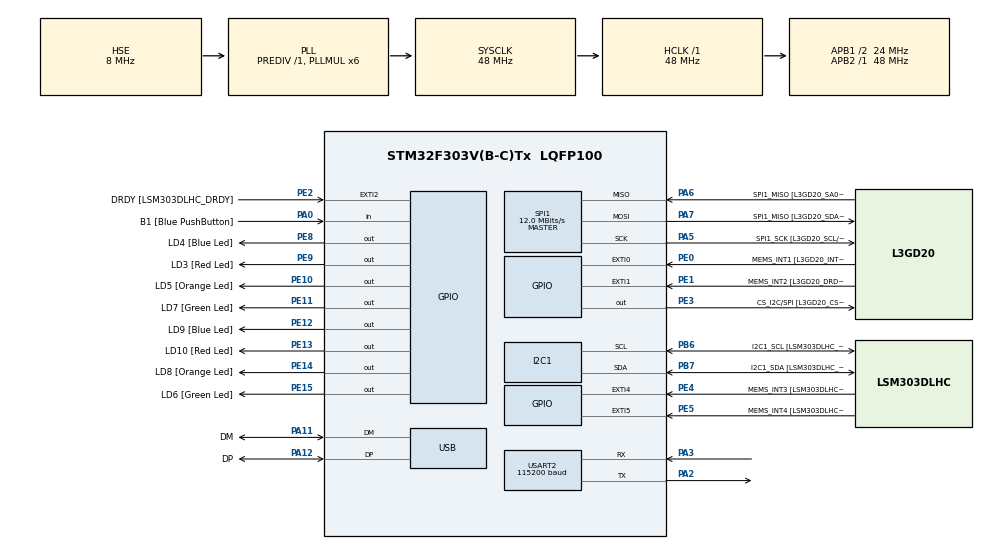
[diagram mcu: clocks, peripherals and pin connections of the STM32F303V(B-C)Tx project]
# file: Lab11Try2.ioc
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I2C1.Timing=0x00201D2B
I2C1.Timing-I2C=0x2000090E
Mcu.Family=STM32F3
Mcu.Name=STM32F303V(B-C)Tx
Mcu.Package=LQFP100
NVIC.PriorityGroup=NVIC_PRIORITYGROUP_0
NVIC.SPI1_IRQn=true\:0\:0\:false\:false\:true\:true\:true\:true
PA0.GPIO_Label=B1 [Blue PushButton]
PA0.Signal=GPIO_Input
PA11.GPIO_Label=DM
PA11.Mode=Device
PA11.Signal=USB_DM
PA12.GPIO_Label=DP
PA12.Mode=Device
PA12.Signal=USB_DP
PA13.GPIO_Label=SWDIO
PA13.Mode=Serial_Wire
PA13.Signal=SYS_JTMS-SWDIO
PA14.GPIO_Label=SWCLK
PA14.Mode=Serial_Wire
PA14.Signal=SYS_JTCK-SWCLK
PA2.Mode=Asynchronous
PA2.Signal=USART2_TX
PA3.Mode=Asynchronous
PA3.Signal=USART2_RX
PA5.GPIO_Label=SPI1_SCK [L3GD20_SCL/SPC]
PA5.Mode=Full_Duplex_Master
PA5.Signal=SPI1_SCK
PA6.GPIO_Label=SPI1_MISO [L3GD20_SA0/SDO]
PA6.Mode=Full_Duplex_Master
PA6.Signal=SPI1_MISO
PA7.GPIO_Label=SPI1_MISO [L3GD20_SDA/SDI/SDO]
PA7.Mode=Full_Duplex_Master
PA7.Signal=SPI1_MOSI
PB3.GPIO_Label=SWO
PB3.Signal=SYS_JTDO-TRACESWO
PB6.GPIO_Label=I2C1_SCL [LSM303DLHC_SCL]
PB6.GPIO_Pu=GPIO_PULLUP
PB6.Mode=I2C
PB6.Signal=I2C1_SCL
PB7.GPIO_Label=I2C1_SDA [LSM303DLHC_SDA]
PB7.GPIO_Pu=GPIO_PULLUP
PB7.Mode=I2C
PB7.Signal=I2C1_SDA
PC14-OSC32_IN.GPIO_Label=OSC32_IN
PC14-OSC32_IN.Signal=RCC_OSC32_IN
PC15-OSC32_OUT.GPIO_Label=OSC32_OUT
PC15-OSC32_OUT.Signal=RCC_OSC32_OUT
PE0.GPIO_Label=MEMS_INT1 [L3GD20_INT1]
PE0.GPIO_ModeDefaultEXTI=GPIO_MODE_EVT_RISING
PE0.Signal=GPXTI0
PE1.GPIO_Label=MEMS_INT2 [L3GD20_DRDY/INT2]
PE1.GPIO_ModeDefaultEXTI=GPIO_MODE_EVT_RISING
PE1.Signal=GPXTI1
PE10.GPIO_Label=LD5 [Orange Led]
PE10.Signal=GPIO_Output
PE11.GPIO_Label=LD7 [Green Led]
PE11.Signal=GPIO_Output
PE12.GPIO_Label=LD9 [Blue Led]
PE12.Signal=GPIO_Output
PE13.GPIO_Label=LD10 [Red Led]
PE13.Signal=GPIO_Output
PE14.GPIO_Label=LD8 [Orange Led]
PE14.Signal=GPIO_Output
PE15.GPIO_Label=LD6 [Green Led]
PE15.Signal=GPIO_Output
PE2.GPIO_Label=DRDY [LSM303DLHC_DRDY]
PE2.GPIO_ModeDefaultEXTI=GPIO_MODE_EVT_RISING
PE2.Signal=GPXTI2
PE3.GPIO_Label=CS_I2C/SPI [L3GD20_CS_I2C/SPI]
PE3.Signal=GPIO_Output
PE4.GPIO_Label=MEMS_INT3 [LSM303DLHC_INT1]
PE4.GPIO_ModeDefaultEXTI=GPIO_MODE_EVT_RISING
PE4.Signal=GPXTI4
PE5.GPIO_Label=MEMS_INT4 [LSM303DLHC_INT2]
PE5.GPIO_ModeDefaultEXTI=GPIO_MODE_EVT_RISING
PE5.Signal=GPXTI5
PE8.GPIO_Label=LD4 [Blue Led]
PE8.Signal=GPIO_Output
PE9.GPIO_Label=LD3 [Red Led]
PE9.Signal=GPIO_Output
PF0-OSC_IN.GPIO_Label=OSC_IN
PF0-OSC_IN.Mode=HSE-External-Clock-Source
PF0-OSC_IN.Signal=RCC_OSC_IN
PF1-OSC_OUT.GPIO_Label=OSC_OUT
PF1-OSC_OUT.Signal=RCC_OSC_OUT
ProjectManager.HeapSize=0x200
ProjectManager.StackSize=0x400
ProjectManager.TargetToolchain=CMake
RCC.AHBFreq_Value=48000000
RCC.APB1CLKDivider=RCC_HCLK_DIV2
RCC.APB1Freq_Value=24000000
RCC.APB1TimFreq_Value=48000000
RCC.APB2Freq_Value=48000000
RCC.APB2TimFreq_Value=48000000
RCC.CortexFreq_Value=48000000
RCC.HCLKFreq_Value=48000000
RCC.HSE_VALUE=8000000
RCC.HSI_VALUE=8000000
RCC.LSE_VALUE=32768
RCC.PLLMUL=RCC_PLL_MUL6
RCC.SYSCLKFreq_VALUE=48000000
RCC.SYSCLKSourceVirtual=RCC_SYSCLKSOURCE_PLLCLK
RCC.USBFreq_Value=48000000
SPI1.BaudRatePrescaler=SPI_BAUDRATEPRESCALER_4
SPI1.BaudRatePrescaler-Full_Duplex_Master=SPI_BAUDRATEPRESCALER_2
SPI1.CLKPhase=SPI_PHASE_2EDGE
SPI1.CLKPolarity=SPI_POLARITY_HIGH
SPI1.CalculateBaudRate=12.0 MBits/s
SPI1.CalculateBaudRate-Full_Duplex_Master=24.0 MBits/s
SPI1.DataSize=SPI_DATASIZE_8BIT
SPI1.Direction=SPI_DIRECTION_2LINES
SPI1.Mode=SPI_MODE_MASTER
SPI1.Mode-Full_Duplex_Master=SPI_MODE_MASTER
SPI1.VirtualType=VM_MASTER
USART2.BaudRate=115200
USART2.VirtualMode-Asynchronous=VM_ASYNC
board=STM32F3DISCOVERY

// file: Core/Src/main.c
/* USER CODE BEGIN Header */
/**
  ******************************************************************************
  * @file           : main.c
  * @brief          : Main program body
  ******************************************************************************
  * @attention
  *
  * Copyright (c) 2026 STMicroelectronics.
  * All rights reserved.
  *
  * This software is licensed under terms that can be found in the LICENSE file
  * in the root directory of this software component.
  * If no LICENSE file comes with this software, it is provided AS-IS.
  *
  ******************************************************************************
  */
/* USER CODE END Header */
#include "main.h"

/* USER CODE BEGIN Includes */
#include "stdarg.h"
#include "stdio.h"
#include "stm32f3xx_hal.h"
#include "stm32f3xx_hal_spi.h"
#include <stdint.h>
#include <strings.h>
#include <string.h>
#include <math.h>
/* USER CODE END Includes */

/* USER CODE BEGIN PD */

// --- Definitions ---
#define RAD_TO_DEG          57.29577951f

// I3G4250D Gyroscope (SPI)
#define GYRO_WHO_AM_I       0x0F
#define GYRO_WHO_AM_I_VAL   0xD3
#define GYRO_CTRL_REG1      0x20
#define GYRO_CTRL_REG1_VAL  0x8F  // Power on, Enable X, Y, Z, 100Hz ODR
#define GYRO_OUT_X_L        0x28

// LSM303AGR Accelerometer (I2C)
// The 7-bit I2C address is 0x19 (0011001b). HAL requires it left-shifted by 1 -> 0x32
#define ACCEL_I2C_ADDR      (0x19 << 1)
#define ACCEL_WHO_AM_I      0x0F
#define ACCEL_WHO_AM_I_VAL  0x33
#define ACCEL_CTRL_REG1     0x20
#define ACCEL_CTRL_REG1_VAL 0x67  // 100Hz, Normal mode, X/Y/Z enabled
#define ACCEL_CTRL_REG4     0x23
#define ACCEL_CTRL_REG4_VAL 0x00  // Continuous update, +/- 2g, Normal mode
#define ACCEL_OUT_X_L       0x28

/* USER CODE END PD */

I2C_HandleTypeDef hi2c1;

SPI_HandleTypeDef hspi1;

UART_HandleTypeDef huart2;

PCD_HandleTypeDef hpcd_USB_FS;

void SystemClock_Config(void);
static void MX_GPIO_Init(void);
static void MX_I2C1_Init(void);
static void MX_SPI1_Init(void);
static void MX_USART2_UART_Init(void);
static void MX_USB_PCD_Init(void);

/* USER CODE BEGIN 0 */
// --- Data Structures ---
typedef struct {
    int16_t raw_acc_x, raw_acc_y, raw_acc_z;
    float acc_x, acc_y, acc_z;
    float acc_offset_x, acc_offset_y, acc_offset_z;

    int16_t raw_gyro_x, raw_gyro_y, raw_gyro_z;
    float gyro_x, gyro_y, gyro_z;
    float gyro_offset_x, gyro_offset_y, gyro_offset_z;

    float angle_x;
    float angle_y;
    float angle_z;

} SensorData_t;

SensorData_t sensor = {0};

// --- SPI Interrupt Variables ---
volatile uint8_t spi_tx_buf[7];
volatile uint8_t spi_rx_buf[7];
volatile uint8_t spi_ready = 1;

// --- Functions ---

void myPrintf(const char* fmt, ...) {
    char buffer[512];
    va_list args;
    va_start(args, fmt);
    int length = vsnprintf(buffer, sizeof(buffer), fmt, args);
    va_end(args);

    if (length > 0) {
        HAL_UART_Transmit(&huart2, (uint8_t*)buffer, (uint16_t)length, HAL_MAX_DELAY);
    }
}

// SPI Tx/Rx Complete Callback for Gyroscope
void HAL_SPI_TxRxCpltCallback(SPI_HandleTypeDef *hspi) {
    if (hspi->Instance == SPI1) {
        // Pull CS High to end communication
        HAL_GPIO_WritePin(GPIOE, GPIO_PIN_3, GPIO_PIN_SET);
        spi_ready = 1;
    }
}

void gyro_init(void)
{
    // 0x80 = Read operation bit
    // 0x0F = WHO_AM_I register address
    uint8_t operation = 0x80 | 0x0F;
    uint8_t dataRecieved = 0;

    // 1. Pull CS Low to start communication
    HAL_GPIO_WritePin(GPIOE, GPIO_PIN_3, GPIO_PIN_RESET);

    // 2. Transmit the register address (with the Read bit set)
    // We use a small timeout (10ms) as requested
    HAL_SPI_Transmit(&hspi1, &operation, 1, 10);

    // 3. Receive the data from the sensor
    // The SPI clock continues to run, allowing the sensor to push its ID onto MISO
    HAL_SPI_Receive(&hspi1, &dataRecieved, 1, 10);

    // 4. Pull CS High to end communication
    HAL_GPIO_WritePin(GPIOE, GPIO_PIN_3, GPIO_PIN_SET);

    // Print the result. Expected value for i3g4250d is 0xD3 (211 decimal)
    myPrintf("Sensor Data (i3g4250d) WHO_AM_I: 0x%02X \r\n", dataRecieved);

    // Proceed with actual configuration if the sensor is correct
    if (dataRecieved == 0xD3) {
        uint8_t config[2] = { GYRO_CTRL_REG1, GYRO_CTRL_REG1_VAL };

        HAL_GPIO_WritePin(GPIOE, GPIO_PIN_3, GPIO_PIN_RESET);
        HAL_SPI_Transmit(&hspi1, config, 2, 10);
        HAL_GPIO_WritePin(GPIOE, GPIO_PIN_3, GPIO_PIN_SET);

        myPrintf("Gyroscope Configured Successfully.\r\n");
    } else {
        myPrintf("Error: Gyroscope not found or SPI communication failed.\r\n");
    }

    HAL_Delay(100);
}

void accel_init(void) {
    uint8_t id = 0;

    // Check WHO_AM_I
    HAL_I2C_Mem_Read(&hi2c1, ACCEL_I2C_ADDR, ACCEL_WHO_AM_I, 1, &id, 1, HAL_MAX_DELAY);
    if (id == ACCEL_WHO_AM_I_VAL) {
        myPrintf("LSM303AGR (Accel) OK\r\n");
    } else {
        myPrintf("LSM303AGR (Accel) Fail: 0x%02X\r\n", id);
    }

    // Configure CTRL_REG1_A and CTRL_REG4_A
    uint8_t ctrl1 = ACCEL_CTRL_REG1_VAL;
    HAL_I2C_Mem_Write(&hi2c1, ACCEL_I2C_ADDR, ACCEL_CTRL_REG1, 1, &ctrl1, 1, HAL_MAX_DELAY);

    uint8_t ctrl4 = ACCEL_CTRL_REG4_VAL;
    HAL_I2C_Mem_Write(&hi2c1, ACCEL_I2C_ADDR, ACCEL_CTRL_REG4, 1, &ctrl4, 1, HAL_MAX_DELAY);
}

void calibrate_sensors(SensorData_t *s) {
    myPrintf("Calibrating... Do not move the board.\r\n");
    float sum_ax = 0, sum_ay = 0, sum_az = 0;
    float sum_gx = 0, sum_gy = 0, sum_gz = 0;
    uint8_t samples = 20;

    for (int i = 0; i < samples; i++) {
        // --- Read Accel (Blocking) ---
        uint8_t raw_acc[6];
        // 0x80 sets the MSB to 1 for I2C auto-increment
        HAL_I2C_Mem_Read(&hi2c1, ACCEL_I2C_ADDR, ACCEL_OUT_X_L | 0x80, 1, raw_acc, 6, HAL_MAX_DELAY);
        int16_t rax = (raw_acc[1] << 8) | raw_acc[0];
        int16_t ray = (raw_acc[3] << 8) | raw_acc[2];
        int16_t raz = (raw_acc[5] << 8) | raw_acc[4];

        // 3.9 mg/LSB -> converted to g
        sum_ax += (rax * 3.9f) / 1000.0f;
        sum_ay += (ray * 3.9f) / 1000.0f;
        sum_az += ((raz * 3.9f) / 1000.0f) - 1.0f; // Subtract 1g for Gravity

        // --- Read Gyro (Blocking for calibration) ---
        // 0xC0 = 0x80 (Read) | 0x40 (Auto-increment address)
        uint8_t tx[7] = {GYRO_OUT_X_L | 0xC0};
        uint8_t rx[7] = {0};
        HAL_GPIO_WritePin(GPIOE, GPIO_PIN_3, GPIO_PIN_RESET);
        HAL_SPI_TransmitReceive(&hspi1, tx, rx, 7, HAL_MAX_DELAY);
        HAL_GPIO_WritePin(GPIOE, GPIO_PIN_3, GPIO_PIN_SET);

        int16_t rgx = (rx[2] << 8) | rx[1];
        int16_t rgy = (rx[4] << 8) | rx[3];
        int16_t rgz = (rx[6] << 8) | rx[5];

        // 8.75 mdps/LSB -> converted to dps
        sum_gx += (rgx * 8.75f) / 1000.0f;
        sum_gy += (rgy * 8.75f) / 1000.0f;
        sum_gz += (rgz * 8.75f) / 1000.0f;

        HAL_Delay(50);
    }

    s->acc_offset_x = sum_ax / samples;
    s->acc_offset_y = sum_ay / samples;
    s->acc_offset_z = sum_az / samples;

    s->gyro_offset_x = sum_gx / samples;
    s->gyro_offset_y = sum_gy / samples;
    s->gyro_offset_z = sum_gz / samples;

    myPrintf("Calibration complete.\r\n");
}

// Initiates Non-Blocking Gyro Read via IT
void request_gyro_it(void) {
    if (spi_ready) {
        spi_ready = 0;
        // 0x80 (Read) | 0x40 (Auto Increment)
        spi_tx_buf[0] = GYRO_OUT_X_L | 0xC0;

        HAL_GPIO_WritePin(GPIOE, GPIO_PIN_3, GPIO_PIN_RESET); // Pull CS Low
        HAL_SPI_TransmitReceive_IT(&hspi1, (uint8_t*)spi_tx_buf, (uint8_t*)spi_rx_buf, 7);
    }
}

// Parses Gyro data after IT finishes
void process_gyro(SensorData_t *s) {
    s->raw_gyro_x = (int16_t)((spi_rx_buf[2] << 8) | spi_rx_buf[1]);
    s->raw_gyro_y = (int16_t)((spi_rx_buf[4] << 8) | spi_rx_buf[3]);
    s->raw_gyro_z = (int16_t)((spi_rx_buf[6] << 8) | spi_rx_buf[5]);

    s->gyro_x = ((s->raw_gyro_x * 8.75f) / 1000.0f) - s->gyro_offset_x;
    s->gyro_y = ((s->raw_gyro_y * 8.75f) / 1000.0f) - s->gyro_offset_y;
    s->gyro_z = ((s->raw_gyro_z * 8.75f) / 1000.0f) - s->gyro_offset_z;
}

// Blocks to read I2C Accel
void read_accel(SensorData_t *s) {
    uint8_t raw_acc[6];
    // 0x80 enables register auto-increment
    HAL_I2C_Mem_Read(&hi2c1, ACCEL_I2C_ADDR, ACCEL_OUT_X_L | 0x80, 1, raw_acc, 6, HAL_MAX_DELAY);

    s->raw_acc_x = (int16_t)((raw_acc[1] << 8) | raw_acc[0]);
    s->raw_acc_y = (int16_t)((raw_acc[3] << 8) | raw_acc[2]);
    s->raw_acc_z = (int16_t)((raw_acc[5] << 8) | raw_acc[4]);

    s->acc_x = ((s->raw_acc_x * 3.9f) / 1000.0f) - s->acc_offset_x;
    s->acc_y = ((s->raw_acc_y * 3.9f) / 1000.0f) - s->acc_offset_y;
    s->acc_z = ((s->raw_acc_z * 3.9f) / 1000.0f) - s->acc_offset_z;

    // Estimate X angle in degrees using Atan2
    s->angle_x = atan2f(s->acc_y, sqrtf(s->acc_x * s->acc_x + s->acc_z * s->acc_z)) * RAD_TO_DEG;
}

/* USER CODE END 0 */

int main(void)
{

  /* MCU Configuration--------------------------------------------------------*/

  /* Reset of all peripherals, Initializes the Flash interface and the Systick. */
  HAL_Init();

  /* Configure the system clock */
  SystemClock_Config();

  /* Initialize all configured peripherals */
  MX_GPIO_Init();
  MX_I2C1_Init();
  MX_SPI1_Init();
  MX_USART2_UART_Init();
  MX_USB_PCD_Init();
  /* USER CODE BEGIN 2 */

  HAL_GPIO_WritePin(GPIOE, GPIO_PIN_3, GPIO_PIN_SET);

  HAL_Delay(100);

  // 2. Sensor Initialization
  gyro_init();
  accel_init();

  // 3. Calibration
  calibrate_sensors(&sensor);

  float filtered_angle_x = 0;
  float filtered_angle_y = 0;
  float filtered_angle_z = 0;
  float alpha = 0.98f;
  float dt = 0.1f; // 100ms delay

  /* USER CODE END 2 */

  /* Infinite loop */
  /* USER CODE BEGIN WHILE */
  while (1)
  {
    request_gyro_it();

        // Read I2C Accelerometer while SPI is transmitting in the background
        read_accel(&sensor);

        // Wait for SPI transfer to finish to safely parse gyro values
        while (!spi_ready) {
            // Yield / wait
        }
        process_gyro(&sensor);

        // Print requested outputs (gyro_x angular rate, acc_x tilt angle)
        //myPrintf("%.2f,%.2f\r\n", sensor.gyro_x, sensor.angle_x);
        filtered_angle_x = alpha * (filtered_angle_x + sensor.gyro_x * dt) + ((1.0f - alpha) * sensor.angle_x);
        filtered_angle_y = alpha * (filtered_angle_y + sensor.gyro_y * dt) + ((1.0f - alpha) * sensor.angle_y);
        filtered_angle_z = alpha * (filtered_angle_z + sensor.gyro_z * dt) + ((1.0f - alpha) * sensor.angle_z);
        // Print the fused, stable result
        myPrintf("%.2f , %.2f, %.2f \r\n", filtered_angle_x, filtered_angle_y, filtered_angle_z);
        //myPrintf("%.2f , %.2f, %.2f \r\n", sensor.angle_x, sensor.gyro_x, filtered_angle_x);
        HAL_Delay(100);

    /* USER CODE END WHILE */

  }
}

void SystemClock_Config(void)
{
  RCC_OscInitTypeDef RCC_OscInitStruct = {0};
  RCC_ClkInitTypeDef RCC_ClkInitStruct = {0};
  RCC_PeriphCLKInitTypeDef PeriphClkInit = {0};

  /** Initializes the RCC Oscillators according to the specified parameters
  * in the RCC_OscInitTypeDef structure.
  */
  RCC_OscInitStruct.OscillatorType = RCC_OSCILLATORTYPE_HSI|RCC_OSCILLATORTYPE_HSE;
  RCC_OscInitStruct.HSEState = RCC_HSE_BYPASS;
  RCC_OscInitStruct.HSEPredivValue = RCC_HSE_PREDIV_DIV1;
  RCC_OscInitStruct.HSIState = RCC_HSI_ON;
  RCC_OscInitStruct.HSICalibrationValue = RCC_HSICALIBRATION_DEFAULT;
  RCC_OscInitStruct.PLL.PLLState = RCC_PLL_ON;
  RCC_OscInitStruct.PLL.PLLSource = RCC_PLLSOURCE_HSE;
  RCC_OscInitStruct.PLL.PLLMUL = RCC_PLL_MUL6;
  if (HAL_RCC_OscConfig(&RCC_OscInitStruct) != HAL_OK)
  {
    Error_Handler();
  }

  /** Initializes the CPU, AHB and APB buses clocks
  */
  RCC_ClkInitStruct.ClockType = RCC_CLOCKTYPE_HCLK|RCC_CLOCKTYPE_SYSCLK
                              |RCC_CLOCKTYPE_PCLK1|RCC_CLOCKTYPE_PCLK2;
  RCC_ClkInitStruct.SYSCLKSource = RCC_SYSCLKSOURCE_PLLCLK;
  RCC_ClkInitStruct.AHBCLKDivider = RCC_SYSCLK_DIV1;
  RCC_ClkInitStruct.APB1CLKDivider = RCC_HCLK_DIV2;
  RCC_ClkInitStruct.APB2CLKDivider = RCC_HCLK_DIV1;

  if (HAL_RCC_ClockConfig(&RCC_ClkInitStruct, FLASH_LATENCY_1) != HAL_OK)
  {
    Error_Handler();
  }
  PeriphClkInit.PeriphClockSelection = RCC_PERIPHCLK_USB|RCC_PERIPHCLK_USART2
                              |RCC_PERIPHCLK_I2C1;
  PeriphClkInit.Usart2ClockSelection = RCC_USART2CLKSOURCE_PCLK1;
  PeriphClkInit.I2c1ClockSelection = RCC_I2C1CLKSOURCE_HSI;
  PeriphClkInit.USBClockSelection = RCC_USBCLKSOURCE_PLL;
  if (HAL_RCCEx_PeriphCLKConfig(&PeriphClkInit) != HAL_OK)
  {
    Error_Handler();
  }
}

static void MX_I2C1_Init(void)
{

  hi2c1.Instance = I2C1;
  hi2c1.Init.Timing = 0x00201D2B;
  hi2c1.Init.OwnAddress1 = 0;
  hi2c1.Init.AddressingMode = I2C_ADDRESSINGMODE_7BIT;
  hi2c1.Init.DualAddressMode = I2C_DUALADDRESS_DISABLE;
  hi2c1.Init.OwnAddress2 = 0;
  hi2c1.Init.OwnAddress2Masks = I2C_OA2_NOMASK;
  hi2c1.Init.GeneralCallMode = I2C_GENERALCALL_DISABLE;
  hi2c1.Init.NoStretchMode = I2C_NOSTRETCH_DISABLE;
  if (HAL_I2C_Init(&hi2c1) != HAL_OK)
  {
    Error_Handler();
  }

  /** Configure Analogue filter
  */
  if (HAL_I2CEx_ConfigAnalogFilter(&hi2c1, I2C_ANALOGFILTER_ENABLE) != HAL_OK)
  {
    Error_Handler();
  }

  /** Configure Digital filter
  */
  if (HAL_I2CEx_ConfigDigitalFilter(&hi2c1, 0) != HAL_OK)
  {
    Error_Handler();
  }

}

static void MX_SPI1_Init(void)
{

  /* SPI1 parameter configuration*/
  hspi1.Instance = SPI1;
  hspi1.Init.Mode = SPI_MODE_MASTER;
  hspi1.Init.Direction = SPI_DIRECTION_2LINES;
  hspi1.Init.DataSize = SPI_DATASIZE_8BIT;
  hspi1.Init.CLKPolarity = SPI_POLARITY_HIGH;
  hspi1.Init.CLKPhase = SPI_PHASE_2EDGE;
  hspi1.Init.NSS = SPI_NSS_SOFT;
  hspi1.Init.BaudRatePrescaler = SPI_BAUDRATEPRESCALER_4;
  hspi1.Init.FirstBit = SPI_FIRSTBIT_MSB;
  hspi1.Init.TIMode = SPI_TIMODE_DISABLE;
  hspi1.Init.CRCCalculation = SPI_CRCCALCULATION_DISABLE;
  hspi1.Init.CRCPolynomial = 7;
  hspi1.Init.CRCLength = SPI_CRC_LENGTH_DATASIZE;
  hspi1.Init.NSSPMode = SPI_NSS_PULSE_DISABLE;
  if (HAL_SPI_Init(&hspi1) != HAL_OK)
  {
    Error_Handler();
  }

}

static void MX_USART2_UART_Init(void)
{

  huart2.Instance = USART2;
  huart2.Init.BaudRate = 115200;
  huart2.Init.WordLength = UART_WORDLENGTH_8B;
  huart2.Init.StopBits = UART_STOPBITS_1;
  huart2.Init.Parity = UART_PARITY_NONE;
  huart2.Init.Mode = UART_MODE_TX_RX;
  huart2.Init.HwFlowCtl = UART_HWCONTROL_NONE;
  huart2.Init.OverSampling = UART_OVERSAMPLING_16;
  huart2.Init.OneBitSampling = UART_ONE_BIT_SAMPLE_DISABLE;
  huart2.AdvancedInit.AdvFeatureInit = UART_ADVFEATURE_NO_INIT;
  if (HAL_UART_Init(&huart2) != HAL_OK)
  {
    Error_Handler();
  }

}

static void MX_USB_PCD_Init(void)
{

  hpcd_USB_FS.Instance = USB;
  hpcd_USB_FS.Init.dev_endpoints = 8;
  hpcd_USB_FS.Init.speed = PCD_SPEED_FULL;
  hpcd_USB_FS.Init.phy_itface = PCD_PHY_EMBEDDED;
  hpcd_USB_FS.Init.low_power_enable = DISABLE;
  hpcd_USB_FS.Init.battery_charging_enable = DISABLE;
  if (HAL_PCD_Init(&hpcd_USB_FS) != HAL_OK)
  {
    Error_Handler();
  }

}

static void MX_GPIO_Init(void)
{
  GPIO_InitTypeDef GPIO_InitStruct = {0};

  /* GPIO Ports Clock Enable */
  __HAL_RCC_GPIOE_CLK_ENABLE();
  __HAL_RCC_GPIOC_CLK_ENABLE();
  __HAL_RCC_GPIOF_CLK_ENABLE();
  __HAL_RCC_GPIOA_CLK_ENABLE();
  __HAL_RCC_GPIOB_CLK_ENABLE();

  /*Configure GPIO pin Output Level */
  HAL_GPIO_WritePin(GPIOE, CS_I2C_SPI_Pin|LD4_Pin|LD3_Pin|LD5_Pin
                          |LD7_Pin|LD9_Pin|LD10_Pin|LD8_Pin
                          |LD6_Pin, GPIO_PIN_RESET);

  /*Configure GPIO pins : DRDY_Pin MEMS_INT3_Pin MEMS_INT4_Pin MEMS_INT1_Pin
                           MEMS_INT2_Pin */
  GPIO_InitStruct.Pin = DRDY_Pin|MEMS_INT3_Pin|MEMS_INT4_Pin|MEMS_INT1_Pin
                          |MEMS_INT2_Pin;
  GPIO_InitStruct.Mode = GPIO_MODE_EVT_RISING;
  GPIO_InitStruct.Pull = GPIO_NOPULL;
  HAL_GPIO_Init(GPIOE, &GPIO_InitStruct);

  /*Configure GPIO pins : CS_I2C_SPI_Pin LD4_Pin LD3_Pin LD5_Pin
                           LD7_Pin LD9_Pin LD10_Pin LD8_Pin
                           LD6_Pin */
  GPIO_InitStruct.Pin = CS_I2C_SPI_Pin|LD4_Pin|LD3_Pin|LD5_Pin
                          |LD7_Pin|LD9_Pin|LD10_Pin|LD8_Pin
                          |LD6_Pin;
  GPIO_InitStruct.Mode = GPIO_MODE_OUTPUT_PP;
  GPIO_InitStruct.Pull = GPIO_NOPULL;
  GPIO_InitStruct.Speed = GPIO_SPEED_FREQ_LOW;
  HAL_GPIO_Init(GPIOE, &GPIO_InitStruct);

  /*Configure GPIO pin : B1_Pin */
  GPIO_InitStruct.Pin = B1_Pin;
  GPIO_InitStruct.Mode = GPIO_MODE_INPUT;
  GPIO_InitStruct.Pull = GPIO_NOPULL;
  HAL_GPIO_Init(B1_GPIO_Port, &GPIO_InitStruct);

}

void Error_Handler(void)
{
  __disable_irq();
  while (1)
  {
  }
}
